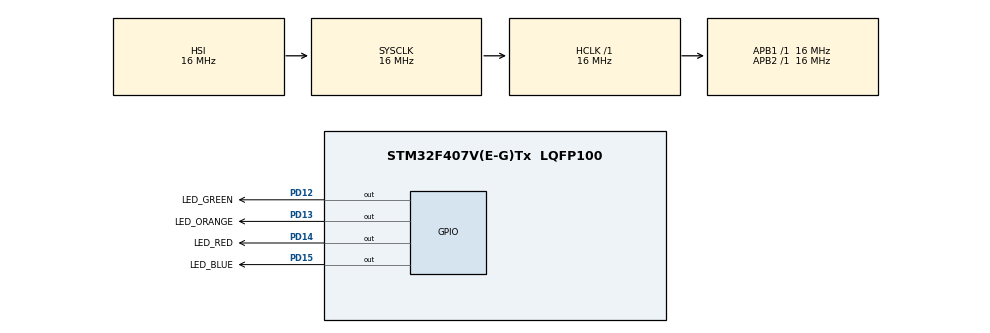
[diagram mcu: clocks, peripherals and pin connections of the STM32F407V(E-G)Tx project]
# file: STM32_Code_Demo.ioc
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Mcu.Family=STM32F4
Mcu.Name=STM32F407V(E-G)Tx
Mcu.Package=LQFP100
NVIC.PriorityGroup=NVIC_PRIORITYGROUP_4
PA13.Mode=Serial_Wire
PA13.Signal=SYS_JTMS-SWDIO
PA14.Mode=Serial_Wire
PA14.Signal=SYS_JTCK-SWCLK
PD12.GPIO_Label=LED_GREEN
PD12.Signal=GPIO_Output
PD13.GPIO_Label=LED_ORANGE
PD13.Signal=GPIO_Output
PD14.GPIO_Label=LED_RED
PD14.Signal=GPIO_Output
PD15.GPIO_Label=LED_BLUE
PD15.Signal=GPIO_Output
ProjectManager.HeapSize=0x200
ProjectManager.StackSize=0x400
ProjectManager.TargetToolchain=CMake
RCC.AHBFreq_Value=16000000
RCC.APB1Freq_Value=16000000
RCC.APB2Freq_Value=16000000
RCC.CortexFreq_Value=16000000
RCC.HSE_VALUE=25000000
RCC.HSI_VALUE=16000000
RCC.LSE_VALUE=32768
RCC.SYSCLKFreq_VALUE=16000000
RCC.VCOOutputFreq_Value=192000000
board=custom

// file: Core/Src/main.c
/* USER CODE BEGIN Header */
/**
  ******************************************************************************
  * @file           : main.c
  * @brief          : Main program body
  ******************************************************************************
  * @attention
  *
  * Copyright (c) 2026 STMicroelectronics.
  * All rights reserved.
  *
  * This software is licensed under terms that can be found in the LICENSE file
  * in the root directory of this software component.
  * If no LICENSE file comes with this software, it is provided AS-IS.
  *
  ******************************************************************************
  */
/* USER CODE END Header */
#include "main.h"
#include "stm32f407xx.h"
#include "stm32f4xx_hal.h"
#include "stm32f4xx_hal_gpio.h"

void SystemClock_Config(void);
static void MX_GPIO_Init(void);

int main(void)
{

  /* MCU Configuration--------------------------------------------------------*/

  /* Reset of all peripherals, Initializes the Flash interface and the Systick. */
  HAL_Init();

  /* Configure the system clock */
  SystemClock_Config();

  /* Initialize all configured peripherals */
  MX_GPIO_Init();

  /* Infinite loop */
  /* USER CODE BEGIN WHILE */
  while (1)
  {

    // Four Leds blink - HAL Version

    // HAL_GPIO_TogglePin(GPIOD, LED_GREEN_Pin);

    // HAL_GPIO_TogglePin(GPIOD, LED_ORANGE_Pin);

    // HAL_GPIO_TogglePin(GPIOD, LED_RED_Pin);

    // HAL_GPIO_TogglePin(GPIOD, LED_BLUE_Pin);

    // HAL_Delay(300);

    // Four Leds running light - HAL Version

    // Green ON
    HAL_GPIO_WritePin(GPIOD, LED_GREEN_Pin, GPIO_PIN_SET);
    HAL_Delay(200);
    HAL_GPIO_WritePin(GPIOD, LED_GREEN_Pin, GPIO_PIN_RESET);

    // Orange ON
    HAL_GPIO_WritePin(GPIOD, LED_ORANGE_Pin, GPIO_PIN_SET);
    HAL_Delay(200);
    HAL_GPIO_WritePin(GPIOD, LED_ORANGE_Pin, GPIO_PIN_RESET);

    // Red ON
    HAL_GPIO_WritePin(GPIOD, LED_RED_Pin, GPIO_PIN_SET);
    HAL_Delay(200);
    HAL_GPIO_WritePin(GPIOD, LED_RED_Pin, GPIO_PIN_RESET);

    // Blue ON
    HAL_GPIO_WritePin(GPIOD, LED_BLUE_Pin, GPIO_PIN_SET);
    HAL_Delay(200);
    HAL_GPIO_WritePin(GPIOD, LED_BLUE_Pin, GPIO_PIN_RESET);

    // Red ON
    HAL_GPIO_WritePin(GPIOD, LED_RED_Pin, GPIO_PIN_SET);
    HAL_Delay(200);
    HAL_GPIO_WritePin(GPIOD, LED_RED_Pin, GPIO_PIN_RESET);

    // Orange ON
    HAL_GPIO_WritePin(GPIOD, LED_ORANGE_Pin, GPIO_PIN_SET);
    HAL_Delay(200);
    HAL_GPIO_WritePin(GPIOD, LED_ORANGE_Pin, GPIO_PIN_RESET);

    // Green ON
    HAL_GPIO_WritePin(GPIOD, LED_GREEN_Pin, GPIO_PIN_SET);
    HAL_Delay(200);
    HAL_GPIO_WritePin(GPIOD, LED_GREEN_Pin, GPIO_PIN_RESET);

    // Blue ON
    HAL_GPIO_WritePin(GPIOD, LED_BLUE_Pin, GPIO_PIN_SET);
    HAL_Delay(200);
    HAL_GPIO_WritePin(GPIOD, LED_BLUE_Pin, GPIO_PIN_RESET);

    /* USER CODE END WHILE */

  }
}

void SystemClock_Config(void)
{
  RCC_OscInitTypeDef RCC_OscInitStruct = {0};
  RCC_ClkInitTypeDef RCC_ClkInitStruct = {0};

  /** Configure the main internal regulator output voltage
  */
  __HAL_RCC_PWR_CLK_ENABLE();
  __HAL_PWR_VOLTAGESCALING_CONFIG(PWR_REGULATOR_VOLTAGE_SCALE1);

  /** Initializes the RCC Oscillators according to the specified parameters
  * in the RCC_OscInitTypeDef structure.
  */
  RCC_OscInitStruct.OscillatorType = RCC_OSCILLATORTYPE_HSI;
  RCC_OscInitStruct.HSIState = RCC_HSI_ON;
  RCC_OscInitStruct.HSICalibrationValue = RCC_HSICALIBRATION_DEFAULT;
  RCC_OscInitStruct.PLL.PLLState = RCC_PLL_NONE;
  if (HAL_RCC_OscConfig(&RCC_OscInitStruct) != HAL_OK)
  {
    Error_Handler();
  }

  /** Initializes the CPU, AHB and APB buses clocks
  */
  RCC_ClkInitStruct.ClockType = RCC_CLOCKTYPE_HCLK|RCC_CLOCKTYPE_SYSCLK
                              |RCC_CLOCKTYPE_PCLK1|RCC_CLOCKTYPE_PCLK2;
  RCC_ClkInitStruct.SYSCLKSource = RCC_SYSCLKSOURCE_HSI;
  RCC_ClkInitStruct.AHBCLKDivider = RCC_SYSCLK_DIV1;
  RCC_ClkInitStruct.APB1CLKDivider = RCC_HCLK_DIV1;
  RCC_ClkInitStruct.APB2CLKDivider = RCC_HCLK_DIV1;

  if (HAL_RCC_ClockConfig(&RCC_ClkInitStruct, FLASH_LATENCY_0) != HAL_OK)
  {
    Error_Handler();
  }
}

static void MX_GPIO_Init(void)
{
  GPIO_InitTypeDef GPIO_InitStruct = {0};

  /* GPIO Ports Clock Enable */
  __HAL_RCC_GPIOD_CLK_ENABLE();
  __HAL_RCC_GPIOA_CLK_ENABLE();

  /*Configure GPIO pin Output Level */
  HAL_GPIO_WritePin(GPIOD, LED_GREEN_Pin|LED_ORANGE_Pin|LED_RED_Pin|LED_BLUE_Pin, GPIO_PIN_RESET);

  /*Configure GPIO pins : LED_GREEN_Pin LED_ORANGE_Pin LED_RED_Pin LED_BLUE_Pin */
  GPIO_InitStruct.Pin = LED_GREEN_Pin|LED_ORANGE_Pin|LED_RED_Pin|LED_BLUE_Pin;
  GPIO_InitStruct.Mode = GPIO_MODE_OUTPUT_PP;
  GPIO_InitStruct.Pull = GPIO_NOPULL;
  GPIO_InitStruct.Speed = GPIO_SPEED_FREQ_LOW;
  HAL_GPIO_Init(GPIOD, &GPIO_InitStruct);

}

void Error_Handler(void)
{
  __disable_irq();
  while (1)
  {
  }
}
